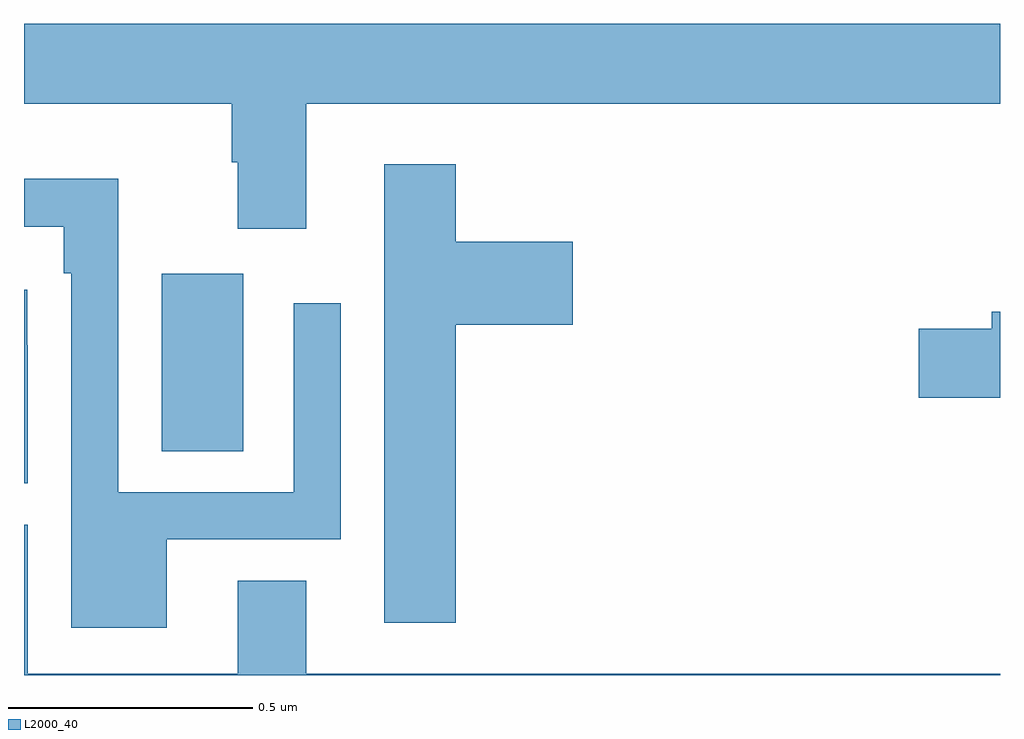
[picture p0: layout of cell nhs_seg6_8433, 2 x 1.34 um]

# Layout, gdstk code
import gdstk
lib = gdstk.Library(unit=1e-6, precision=1e-09)
def R(c, l, rs):  # rectangles x0, y0, x1, y1
    for r in rs: c.add(gdstk.rectangle(r[:2], r[2:], *l))
def P(c, l, *ps):  # polygons
    for p in ps: c.add(gdstk.Polygon(p, *l))
L2000_40 = (2000, 40)

nhs_seg6_8433 = lib.new_cell('nhs_seg6_8433')
R(nhs_seg6_8433, L2000_40, [(221.282,943.96,221.449,944.323)])
P(nhs_seg6_8433, L2000_40, [(221.578,944.672),(223,944.672),(223,944.836),(221,944.836),(221,944.672),(221.426,944.672),(221.426,944.552),(221.438,944.552),(221.438,944.415),(221.578,944.415)],
  [(221.885,944.219),(222.124,944.219),(222.124,944.389),(221.885,944.389),(221.885,944.548),(221.738,944.548),(221.738,943.608),(221.885,943.608)],
  [(221.293,943.779),(221.649,943.779),(221.649,944.263),(221.553,944.263),(221.553,943.875),(221.193,943.875),(221.193,944.518),(221,944.518),(221,944.42),(221.081,944.42),(221.081,944.324),(221.097,944.324),(221.097,943.598),(221.293,943.598)],
  [(221.008,944.177),(221.007,944.177),(221.007,944.29),(221,944.29),(221,943.894),(221.008,943.894)],
  [(223,944.245),(222.983,944.245),(222.983,944.211),(222.834,944.211),(222.834,944.069),(223,944.069)],
  [(223,943.504),(221.578,943.504),(221.578,943.694),(221.438,943.694),(221.438,943.504),(221.008,943.504),(221.008,943.809),(221,943.809),(221,943.5),(223,943.5)])

lib.write_gds('nhs_seg6_8433.gds')
